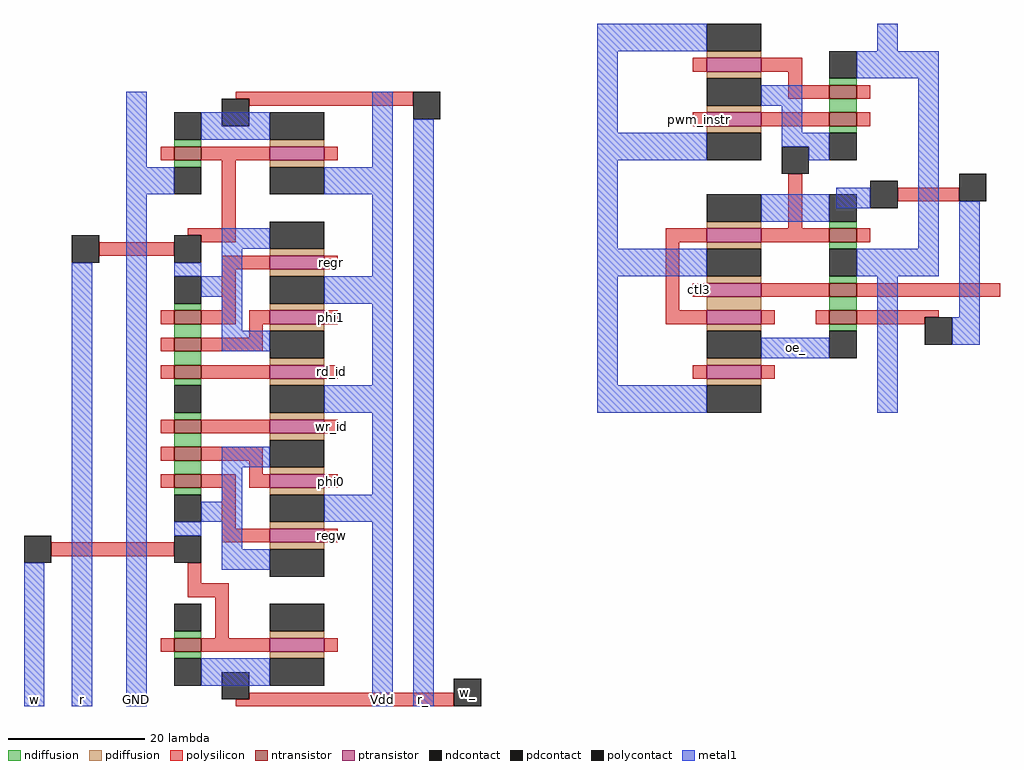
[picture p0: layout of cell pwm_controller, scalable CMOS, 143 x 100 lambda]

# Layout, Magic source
magic
tech scmos
<< polysilicon >>
rect 98 1084 100 1086
rect 108 1084 114 1086
rect 112 1082 114 1084
rect 112 1080 118 1082
rect 122 1080 124 1082
rect 98 1076 100 1078
rect 108 1076 118 1078
rect 122 1076 124 1078
rect 112 1061 114 1069
rect 128 1065 137 1067
rect 94 1059 98 1061
rect 44 1055 46 1057
rect 94 1049 96 1059
rect 98 1051 100 1053
rect 124 1051 143 1053
rect 44 1047 46 1049
rect 94 1047 98 1049
rect 124 1048 134 1049
rect 124 1047 132 1048
rect 44 1039 46 1041
rect 98 1039 100 1041
rect 108 1039 110 1041
rect 44 1031 46 1033
rect 44 1023 46 1025
rect 44 1015 46 1017
<< ndiffusion >>
rect 118 1082 122 1083
rect 118 1078 122 1080
rect 118 1075 122 1076
<< pdiffusion >>
rect 100 1086 108 1087
rect 100 1083 108 1084
rect 100 1078 108 1079
rect 100 1075 108 1076
rect 100 1041 108 1042
rect 100 1038 108 1039
<< metal1 >>
rect 84 1087 100 1091
rect 125 1087 128 1091
rect 84 1075 87 1087
rect 122 1083 134 1087
rect 108 1079 114 1082
rect 111 1075 114 1079
rect 84 1071 100 1075
rect 111 1073 118 1075
rect 84 1058 87 1071
rect 115 1071 118 1073
rect 119 1064 124 1067
rect 131 1058 134 1083
rect 84 1054 100 1058
rect 122 1054 134 1058
rect 84 1038 87 1054
rect 112 1042 114 1045
rect 84 1034 100 1038
rect 125 1034 128 1054
rect 137 1048 140 1065
rect 136 1044 140 1048
rect 0 991 3 993
rect 7 991 10 993
rect 15 991 18 993
rect 51 991 54 993
rect 57 991 60 993
<< ntransistor >>
rect 118 1080 122 1082
rect 118 1076 122 1078
<< ptransistor >>
rect 100 1084 108 1086
rect 100 1076 108 1078
rect 100 1039 108 1041
<< polycontact >>
rect 111 1069 115 1073
rect 124 1064 128 1068
rect 137 1065 141 1069
rect 132 1044 136 1048
rect 63 991 67 995
<< ndcontact >>
rect 118 1083 122 1087
rect 118 1071 122 1075
<< pdcontact >>
rect 100 1087 108 1091
rect 100 1079 108 1083
rect 100 1071 108 1075
rect 100 1034 108 1038
use register_controller  register_controller_0
transform 1 0 22 0 1 1034
box -22 -43 45 47
use inverter  inverter_0
transform 0 -1 129 1 0 1059
box -5 5 7 31
use latch  latch_0
transform 0 -1 122 -1 0 1052
box -6 -2 10 24
<< labels >>
rlabel polysilicon 98 1051 100 1053 1 ctl3
rlabel polysilicon 98 1076 100 1078 1 pwm_instr
rlabel metal1 112 1042 114 1045 1 oe_
rlabel polycontact 63 991 67 995 1 w_
rlabel metal1 57 991 60 993 1 r_
rlabel metal1 51 991 54 993 1 Vdd
rlabel metal1 15 991 18 993 1 GND
rlabel metal1 7 991 10 993 1 r
rlabel metal1 0 991 3 993 3 w
rlabel polysilicon 44 1055 46 1057 1 regr
rlabel polysilicon 44 1047 46 1049 1 phi1
rlabel polysilicon 44 1039 46 1041 1 rd_id
rlabel polysilicon 44 1031 46 1033 1 wr_id
rlabel polysilicon 44 1023 46 1025 1 phi0
rlabel polysilicon 44 1015 46 1017 1 regw
<< end >>

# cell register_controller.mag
magic
tech scmos
<< polysilicon >>
rect 9 46 35 47
rect 11 45 35 46
rect 7 27 9 39
rect 2 26 9 27
rect -11 23 0 25
rect 4 25 9 26
rect 7 21 14 23
rect 22 21 24 23
rect 7 15 9 21
rect -2 13 0 15
rect 4 13 9 15
rect 11 13 14 15
rect 22 13 24 15
rect 11 11 13 13
rect -2 9 0 11
rect 4 9 13 11
rect -2 5 0 7
rect 4 5 14 7
rect 22 5 24 7
rect -2 -3 0 -1
rect 4 -3 14 -1
rect 22 -3 24 -1
rect -2 -7 0 -5
rect 4 -7 13 -5
rect 11 -9 13 -7
rect -2 -11 0 -9
rect 4 -11 9 -9
rect 11 -11 14 -9
rect 22 -11 24 -9
rect 7 -17 9 -11
rect -18 -21 0 -19
rect 7 -19 14 -17
rect 22 -19 24 -17
rect 2 -25 4 -22
rect 2 -27 8 -25
rect 6 -35 8 -27
rect 11 -42 41 -41
rect 9 -43 41 -42
<< ndiffusion >>
rect 0 15 4 16
rect 0 11 4 13
rect 0 7 4 9
rect 0 4 4 5
rect 0 -1 4 0
rect 0 -5 4 -3
rect 0 -9 4 -7
rect 0 -12 4 -11
<< pdiffusion >>
rect 14 23 22 24
rect 14 20 22 21
rect 14 15 22 16
rect 14 12 22 13
rect 14 7 22 8
rect 14 4 22 5
rect 14 -1 22 0
rect 14 -4 22 -3
rect 14 -9 22 -8
rect 14 -12 22 -11
rect 14 -17 22 -16
rect 14 -20 22 -19
<< metal1 >>
rect -7 36 -4 47
rect 29 36 32 47
rect -7 32 0 36
rect 22 32 32 36
rect -22 -43 -19 -22
rect -15 -43 -12 22
rect -7 -43 -4 32
rect 0 20 4 22
rect 7 24 14 27
rect 7 20 10 24
rect 29 20 32 32
rect 4 17 10 20
rect 7 12 10 17
rect 22 16 32 20
rect 7 9 14 12
rect 29 4 32 16
rect 22 0 32 4
rect 7 -8 14 -5
rect 7 -13 10 -8
rect 29 -12 32 0
rect 4 -16 10 -13
rect 22 -16 32 -12
rect 0 -18 4 -16
rect 7 -20 10 -16
rect 7 -23 14 -20
rect 29 -43 32 -16
rect 35 -43 38 43
<< ntransistor >>
rect 0 13 4 15
rect 0 9 4 11
rect 0 5 4 7
rect 0 -3 4 -1
rect 0 -7 4 -5
rect 0 -11 4 -9
<< ptransistor >>
rect 14 21 22 23
rect 14 13 22 15
rect 14 5 22 7
rect 14 -3 22 -1
rect 14 -11 22 -9
rect 14 -19 22 -17
<< polycontact >>
rect 7 42 11 46
rect 35 43 39 47
rect -15 22 -11 26
rect 0 22 4 26
rect -22 -22 -18 -18
rect 0 -22 4 -18
rect 7 -42 11 -38
rect 41 -43 45 -39
<< ndcontact >>
rect 0 16 4 20
rect 0 0 4 4
rect 0 -16 4 -12
<< pdcontact >>
rect 14 24 22 28
rect 14 16 22 20
rect 14 8 22 12
rect 14 0 22 4
rect 14 -8 22 -4
rect 14 -16 22 -12
rect 14 -24 22 -20
use inverter  inverter_0
transform 0 1 -7 1 0 37
box -5 5 7 31
use inverter  inverter_1
transform 0 1 -7 -1 0 -33
box -5 5 7 31
<< labels >>
rlabel metal1 -22 -24 -19 -22 3 w
rlabel metal1 35 -24 38 -22 1 r_
rlabel metal1 -7 -24 -4 -22 1 GND
rlabel metal1 29 -24 32 -22 1 Vdd
rlabel metal1 -15 -24 -12 -22 1 r
rlabel polycontact 42 -43 45 -40 8 w_
rlabel polysilicon 23 -18 23 -18 1 regw
rlabel polysilicon 23 -10 23 -10 1 phi0
rlabel polysilicon 23 -2 23 -2 1 wr_id
rlabel polysilicon 23 6 23 6 1 rd_id
rlabel polysilicon 23 14 23 14 1 phi1
rlabel polysilicon 23 22 23 22 1 regr
<< end >>

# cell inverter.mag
magic
tech scmos
<< polysilicon >>
rect 0 29 2 31
rect 0 11 2 21
rect 0 5 2 7
<< ndiffusion >>
rect -1 7 0 11
rect 2 7 3 11
<< pdiffusion >>
rect -1 21 0 29
rect 2 21 3 29
<< metal1 >>
rect 3 11 7 21
<< ntransistor >>
rect 0 7 2 11
<< ptransistor >>
rect 0 21 2 29
<< ndcontact >>
rect -5 7 -1 11
rect 3 7 7 11
<< pdcontact >>
rect -5 21 -1 29
rect 3 21 7 29
<< labels >>
rlabel metal1 5 16 5 16 7 out
<< end >>

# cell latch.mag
magic
tech scmos
<< polysilicon >>
rect -1 22 1 24
rect 3 22 5 24
rect -1 4 1 14
rect 3 12 5 14
rect 3 4 5 6
rect -1 -2 1 0
rect 3 -2 5 0
<< ndiffusion >>
rect -2 0 -1 4
rect 1 0 3 4
rect 5 0 6 4
<< pdiffusion >>
rect -2 14 -1 22
rect 1 14 3 22
rect 5 14 6 22
<< metal1 >>
rect 7 4 10 14
<< ntransistor >>
rect -1 0 1 4
rect 3 0 5 4
<< ptransistor >>
rect -1 14 1 22
rect 3 14 5 22
<< ndcontact >>
rect -6 0 -2 4
rect 6 0 10 4
<< pdcontact >>
rect -6 14 -2 22
rect 6 14 10 22
<< labels >>
rlabel polysilicon 3 22 5 24 5 latch_
rlabel polysilicon 3 -2 5 0 1 latch
rlabel pdcontact -6 14 -2 22 3 Vdd
rlabel ndcontact -6 0 -2 4 2 GND
rlabel polysilicon -1 8 1 10 1 in
rlabel metal1 7 8 10 10 7 out
<< end >>
